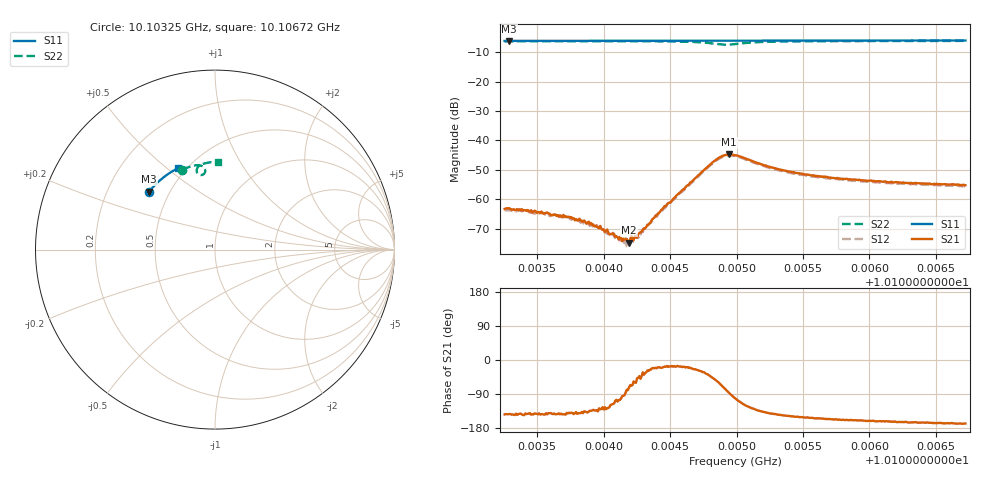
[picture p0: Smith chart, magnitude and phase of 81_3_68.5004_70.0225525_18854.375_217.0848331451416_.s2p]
#  HZ  S  RI  R  50.00
! Rohde & Schwarz Vector Network Analyzer
! Rohde-Schwarz,ZNB20-2Port,1311601062101988,3.16
! Created: UTC 3/20/2024, 4:52:10 PM
! freq[Hz]  re:S11  im:S11  re:S21  im:S21  re:S12  im:S12  re:S22  im:S22
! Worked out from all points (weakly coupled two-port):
!   401 points, 10.10325 GHz to 10.10672 GHz, reference 50 ohm
!   highest |S21| = -44.69 dB at 10.10494 GHz (marker M1); lowest = -74.7 dB at 10.10419 GHz (marker M2)
!   lowest |S11| = -6.2 dB at 10.10329 GHz (marker M3), VSWR 2.91, Z = 19.3 + j16.4 ohm
!   |S11| at or under -10 dB: nowhere
!   |S22| runs from -7.5 to -6.2 dB; largest |S21 - S12| = 0.00057
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1.0103254e10  -0.3683 0.3218  -0.000556 -0.00041  -0.000488 -0.000421  -0.1828 0.4455
1.0103289e10  -0.3669 0.3234  -0.000565 -0.000433  -0.000488 -0.000428  -0.1805 0.4466
1.0103567e10  -0.356 0.3365  -0.000455 -0.000376  -0.000433 -0.000399  -0.163 0.4539
1.0103757e10  -0.3485 0.3451  -0.000377 -0.00033  -0.000334 -0.000304  -0.1506 0.4585
1.0103835e10  -0.3452 0.3487  -0.00032 -0.000298  -0.000284 -0.000304  -0.1454 0.4604
1.0103965e10  -0.3397 0.3546  -0.000197 -0.000257  -0.000209 -0.000254  -0.1363 0.463
1.0104026e10  -0.3374 0.3572  -0.000186 -0.000248  -0.000136 -0.000223  -0.1319 0.4643
1.0104061e10  -0.3357 0.3588  -0.000119 -0.00023  -0.000111 -0.00023  -0.1295 0.4651
1.0104121e10  -0.333 0.3614  -6.26e-05 -0.000222  -1.12e-05 -0.000201  -0.1248 0.4664
1.0104173e10  -0.3309 0.3637  4.31e-05 -0.000209  3.03e-05 -0.000158  -0.1208 0.4671
1.0104191e10  -0.3302 0.3643  5.3e-05 -0.000176  6.02e-05 -0.000175  -0.1194 0.4675
1.0104243e10  -0.328 0.3665  0.000112 -0.000197  0.000126 -0.00018  -0.1151 0.4683
1.0104416e10  -0.3204 0.3738  0.000559 -0.000198  0.000568 -0.000158  -0.0999 0.4703
1.0104676e10  -0.3085 0.3844  0.00196 -0.000888  0.00196 -0.00067  -0.0692 0.464
1.0104823e10  -0.3016 0.3901  0.0029 -0.0032  0.00306 -0.0028  -0.0545 0.4376
1.0104884e10  -0.2989 0.3922  0.00218 -0.00486  0.00249 -0.00446  -0.0627 0.421
1.0104945e10  -0.296 0.3947  0.00032 -0.00582  0.000785 -0.00551  -0.082 0.4155
1.0104988e10  -0.2941 0.3963  -0.00106 -0.00553  -0.000553 -0.00542  -0.0943 0.4213
1.0105291e10  -0.2797 0.4076  -0.00268 -0.00205  -0.00239 -0.00216  -0.0858 0.4681
1.0105569e10  -0.2663 0.4176  -0.00226 -0.00117  -0.00207 -0.00131  -0.0618 0.4791
1.010615e10  -0.2366 0.4367  -0.00186 -0.000614  -0.00175 -0.00074  -0.0193 0.4872
1.0106722e10  -0.2062 0.4533  -0.0017 -0.000374  -0.00161 -0.000515  0.0194 0.4892
